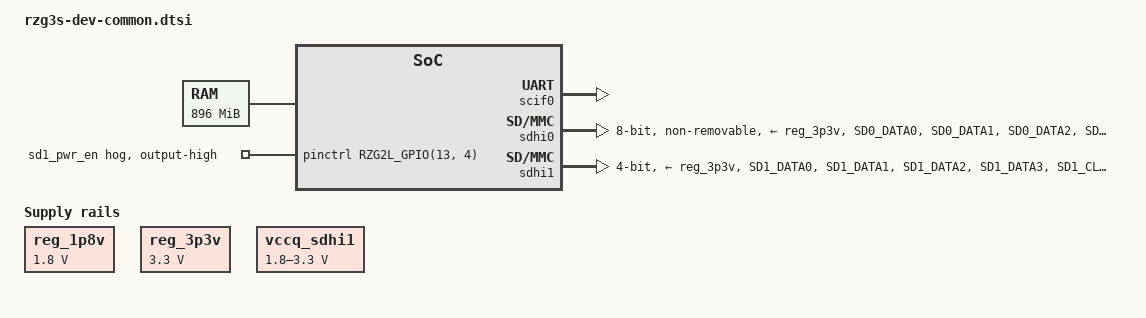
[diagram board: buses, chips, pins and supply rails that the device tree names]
// SPDX-License-Identifier: (GPL-2.0-only OR BSD-2-Clause)
/*
 * Common Devicetree reference for RZ/G3S Development board.
 *
 * Copyright (C) 2023 Renesas Electronics Corp.
 */

#include <dt-bindings/gpio/gpio.h>
#include <dt-bindings/pinctrl/rzg2l-pinctrl.h>

/ {
	aliases {
		serial0 = &scif0;
		mmc0 = &sdhi0;
		mmc1 = &sdhi1;
	};

	memory@48000000 {
		device_type = "memory";
		reg = <0x0 0x48000000 0x0 0x38000000>;
	};

	chosen {
		bootargs = "ignore_loglevel";
		stdout-path = "serial0:115200n8";
	};

	reg_1p8v: regulator0 {
		compatible = "regulator-fixed";
		regulator-name = "fixed-1.8V";
		regulator-min-microvolt = <1800000>;
		regulator-max-microvolt = <1800000>;
		regulator-boot-on;
		regulator-always-on;
	};

	reg_3p3v: regulator1 {
		compatible = "regulator-fixed";
		regulator-name = "fixed-3.3V";
		regulator-min-microvolt = <3300000>;
		regulator-max-microvolt = <3300000>;
		regulator-boot-on;
		regulator-always-on;
	};

	vccq_sdhi1: regulator-vccq-sdhi1 {
		compatible = "regulator-gpio";
		regulator-name = "SDHI1 VccQ";

		regulator-min-microvolt = <1800000>;
		regulator-max-microvolt = <3300000>;

		gpios = <&pinctrl RZG2L_GPIO(13, 0) GPIO_ACTIVE_HIGH>;
		gpios-states = <1>;
		states = <3300000 1>, <1800000 0>;
	};
};

&extal_clk {
	clock-frequency = <24000000>;
};

&scif0 {
	pinctrl-0 = <&scif0_pins>;
	pinctrl-names = "default";
	status = "okay";
};

&sdhi0 {
	pinctrl-0 = <&sdhi0_emmc_pins>;
	pinctrl-1 = <&sdhi0_emmc_pins>;
	pinctrl-names = "default", "state_uhs";

	vmmc-supply = <&reg_3p3v>;
	vqmmc-supply = <&reg_1p8v>;
	bus-width = <8>;
	mmc-hs200-1_8v;
	non-removable;
	fixed-emmc-driver-type = <1>;
	max-frequency = <125000000>;
	status = "okay";
};

&sdhi1 {
	pinctrl-0 = <&sdhi1_pins>;
	pinctrl-1 = <&sdhi1_pins_uhs>;
	pinctrl-names = "default", "state_uhs";

	vmmc-supply = <&reg_3p3v>;
	vqmmc-supply = <&vccq_sdhi1>;
	bus-width = <4>;

	sd-uhs-sdr50;
	sd-uhs-sdr104;
	max-frequency = <125000000>;
	status = "okay";
};

&pinctrl {
	scif0_pins: scif0 {
		pinmux = <RZG2L_PORT_PINMUX(6, 4, 1)>, /* TxD */
			 <RZG2L_PORT_PINMUX(6, 3, 1)>; /* RxD */
	};

	sdhi0_emmc_pins: sd0emmc {
		sd0_emmc_data {
			pins = "SD0_DATA0", "SD0_DATA1", "SD0_DATA2", "SD0_DATA3",
			       "SD0_DATA4", "SD0_DATA5", "SD0_DATA6", "SD0_DATA7";
			power-source = <1800>;
		};

		sd0_emmc_ctrl {
			pins = "SD0_CLK", "SD0_CMD";
			power-source = <1800>;
		};

		sd0_emmc_rst {
			pins = "SD0_RST#";
			power-source = <1800>;
		};
	};

	sd1-pwr-en-hog {
		gpio-hog;
		gpios = <RZG2L_GPIO(13, 4) GPIO_ACTIVE_HIGH>;
		output-high;
		line-name = "sd1_pwr_en";
	};

	sdhi1_pins: sd1 {
		sd1_data {
			pins = "SD1_DATA0", "SD1_DATA1", "SD1_DATA2", "SD1_DATA3";
			power-source = <3300>;
		};

		sd1_ctrl {
			pins = "SD1_CLK", "SD1_CMD";
			power-source = <3300>;
		};

		sd1_mux {
			pinmux = <RZG2L_PORT_PINMUX(0, 2, 1)>; /* SD1_CD */
		};
	};

	sdhi1_pins_uhs: sd1_uhs {
		sd1_data_uhs {
			pins = "SD1_DATA0", "SD1_DATA1", "SD1_DATA2", "SD1_DATA3";
			power-source = <1800>;
		};

		sd1_ctrl_uhs {
			pins = "SD1_CLK", "SD1_CMD";
			power-source = <1800>;
		};

		sd1_mux_uhs {
			pinmux = <RZG2L_PORT_PINMUX(0, 2, 1)>; /* SD1_CD */
		};
	};

};
